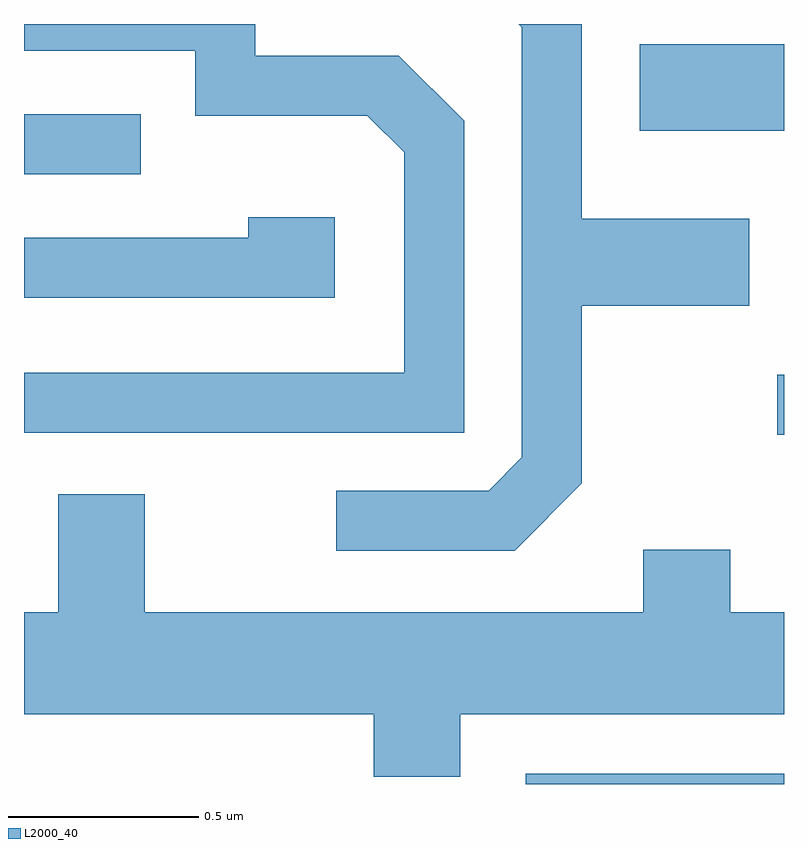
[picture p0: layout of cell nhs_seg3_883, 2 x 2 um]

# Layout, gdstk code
import gdstk
lib = gdstk.Library(unit=1e-6, precision=1e-09)
def R(c, l, rs):  # rectangles x0, y0, x1, y1
    for r in rs: c.add(gdstk.rectangle(r[:2], r[2:], *l))
def P(c, l, *ps):  # polygons
    for p in ps: c.add(gdstk.Polygon(p, *l))
L2000_40 = (2000, 40)

nhs_seg3_883 = lib.new_cell('nhs_seg3_883')
R(nhs_seg3_883, L2000_40, [(192.931,1176.892,193.611,1176.919), (193.593,1177.811,193.611,1177.969), (191.611,1178.496,191.918,1178.654), (193.231,1178.611,193.611,1178.839)])
P(nhs_seg3_883, L2000_40, [(192.769,1178.637),(192.597,1178.809),(192.219,1178.809),(192.219,1178.892),(191.611,1178.892),(191.611,1178.821),(192.061,1178.821),(192.061,1178.651),(192.514,1178.651),(192.611,1178.554),(192.611,1177.974),(191.611,1177.974),(191.611,1177.816),(192.769,1177.816)],
  [(193.079,1177.684),(193.079,1178.151),(193.519,1178.151),(193.519,1178.379),(193.079,1178.379),(193.079,1178.892),(192.913,1178.892),(192.921,1178.884),(192.921,1177.752),(192.834,1177.664),(192.433,1177.664),(192.433,1177.506),(192.902,1177.506)],
  [(192.429,1178.384),(192.201,1178.384),(192.201,1178.329),(191.611,1178.329),(191.611,1178.171),(192.429,1178.171)],
  [(192.759,1177.076),(193.611,1177.076),(193.611,1177.344),(193.469,1177.344),(193.469,1177.509),(193.241,1177.509),(193.241,1177.344),(191.929,1177.344),(191.929,1177.654),(191.701,1177.654),(191.701,1177.344),(191.611,1177.344),(191.611,1177.076),(192.531,1177.076),(192.531,1176.911),(192.759,1176.911)])

lib.write_gds('nhs_seg3_883.gds')
